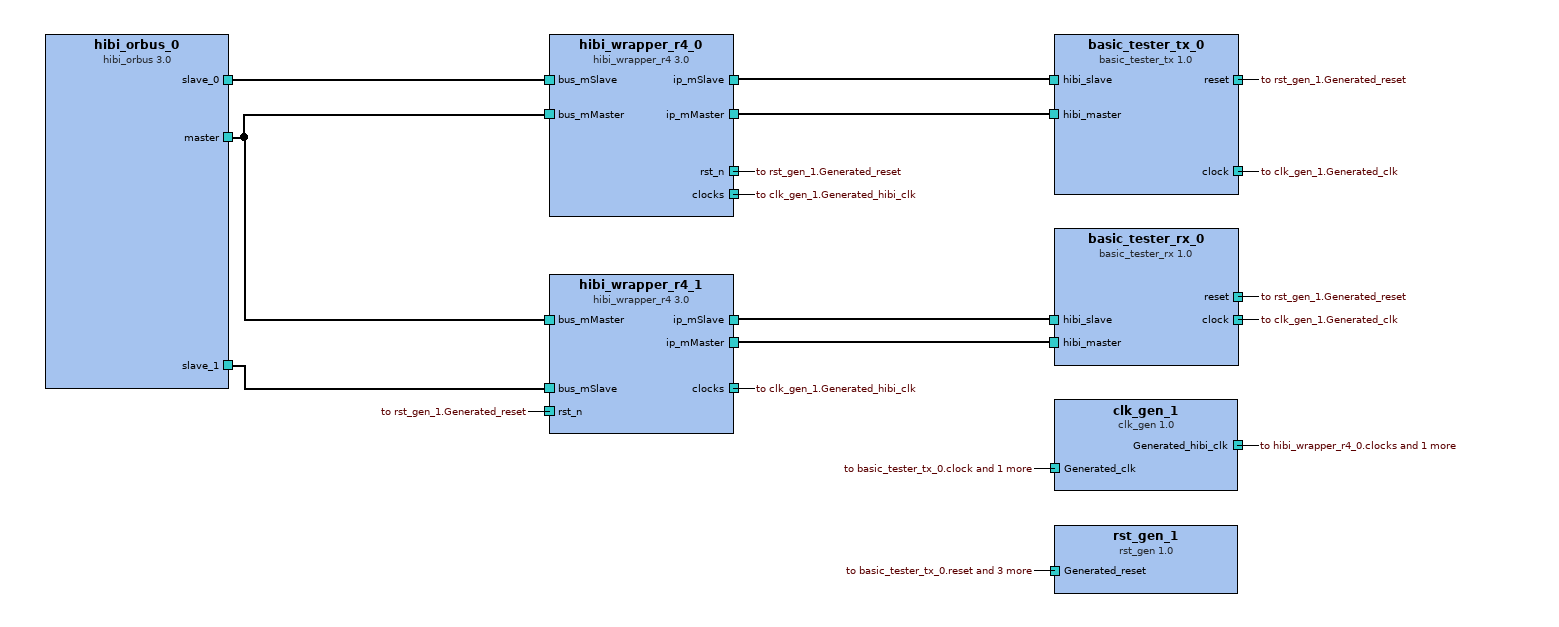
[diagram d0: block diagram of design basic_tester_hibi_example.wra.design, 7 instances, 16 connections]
<?xml version="1.0" encoding="UTF-8"?>
<!-- Created by Kactus2 - Open source IP-Xact toolset -->
<!-- http://sourceforge.net/projects/kactus2/ -->
<!-- Date: 04.07.2012 -->
<!-- Time: 14:04:47 -->
<spirit:design xmlns:kactus2="http://funbase.cs.tut.fi/" xmlns:spirit="http://www.spiritconsortium.org/XMLSchema/SPIRIT/1.5" xmlns:xsi="http://www.w3.org/2001/XMLSchema-instance" xsi:schemaLocation="http://www.spiritconsortium.org/XMLSchema/SPIRIT/1.5 http://www.spiritconsortium.org/XMLSchema/SPIRIT/1.5/index.xsd"><spirit:vendor>TUT</spirit:vendor><spirit:library>soc</spirit:library><spirit:name>basic_tester_hibi_example.wra.design</spirit:name>
 <spirit:version>1.0</spirit:version><spirit:componentInstances>
 <spirit:componentInstance><spirit:instanceName>basic_tester_tx_0</spirit:instanceName><spirit:componentRef spirit:vendor="TUT" spirit:library="ip.hwp.communication" spirit:name="basic_tester_tx" spirit:version="1.0"/><spirit:configurableElementValues><spirit:configurableElementValue spirit:referenceId="conf_file_g">"test_tx.txt"</spirit:configurableElementValue></spirit:configurableElementValues></spirit:componentInstance>
 <spirit:componentInstance><spirit:instanceName>clk_gen_1</spirit:instanceName>
  <spirit:componentRef spirit:vendor="TUT" spirit:library="ip.hwp.interface" spirit:name="clk_gen" spirit:version="1.0"/>
  <spirit:configurableElementValues><spirit:configurableElementValue spirit:referenceId="hi_period_ns_g">5</spirit:configurableElementValue><spirit:configurableElementValue spirit:referenceId="lo_period_ns_g">3</spirit:configurableElementValue></spirit:configurableElementValues>
 </spirit:componentInstance>
 <spirit:componentInstance><spirit:instanceName>basic_tester_rx_0</spirit:instanceName><spirit:componentRef spirit:vendor="TUT" spirit:library="ip.hwp.communication" spirit:name="basic_tester_rx" spirit:version="1.0"/><spirit:configurableElementValues><spirit:configurableElementValue spirit:referenceId="conf_file_g">"test_rx.txt"</spirit:configurableElementValue></spirit:configurableElementValues></spirit:componentInstance>
 <spirit:componentInstance><spirit:instanceName>rst_gen_1</spirit:instanceName><spirit:componentRef spirit:vendor="TUT" spirit:library="ip.hwp.interface" spirit:name="rst_gen" spirit:version="1.0"/></spirit:componentInstance>
 <spirit:componentInstance><spirit:instanceName>hibi_wrapper_r4_0</spirit:instanceName>
  <spirit:componentRef spirit:vendor="TUT" spirit:library="ip.hwp.communication" spirit:name="hibi_wrapper_r4" spirit:version="3.0"/>
  <spirit:configurableElementValues><spirit:configurableElementValue spirit:referenceId="addr_g">16#01000000#</spirit:configurableElementValue><spirit:configurableElementValue spirit:referenceId="addr_limit_g">16#03000000# -1</spirit:configurableElementValue></spirit:configurableElementValues>
 </spirit:componentInstance>
 <spirit:componentInstance><spirit:instanceName>hibi_wrapper_r4_1</spirit:instanceName>
  <spirit:componentRef spirit:vendor="TUT" spirit:library="ip.hwp.communication" spirit:name="hibi_wrapper_r4" spirit:version="3.0"/>
  <spirit:configurableElementValues><spirit:configurableElementValue spirit:referenceId="addr_g">16#03000000#</spirit:configurableElementValue><spirit:configurableElementValue spirit:referenceId="addr_limit_g">16#05000000#
-1</spirit:configurableElementValue></spirit:configurableElementValues>
 </spirit:componentInstance>
 <spirit:componentInstance><spirit:instanceName>hibi_orbus_0</spirit:instanceName><spirit:componentRef spirit:vendor="TUT" spirit:library="ip.hwp.communication" spirit:name="hibi_orbus" spirit:version="3.0"/></spirit:componentInstance>
</spirit:componentInstances><spirit:interconnections>
 <spirit:interconnection><spirit:name>rstn_gen_tx</spirit:name><spirit:activeInterface spirit:componentRef="rst_gen_1" spirit:busRef="Generated_reset"/><spirit:activeInterface spirit:componentRef="basic_tester_tx_0" spirit:busRef="reset"/></spirit:interconnection>
 <spirit:interconnection><spirit:name>rstn_gen_rx</spirit:name><spirit:activeInterface spirit:componentRef="rst_gen_1" spirit:busRef="Generated_reset"/><spirit:activeInterface spirit:componentRef="basic_tester_rx_0" spirit:busRef="reset"/></spirit:interconnection>
 <spirit:interconnection><spirit:name>clk_gen_tx</spirit:name><spirit:activeInterface spirit:componentRef="clk_gen_1" spirit:busRef="Generated_clk"/><spirit:activeInterface spirit:componentRef="basic_tester_tx_0" spirit:busRef="clock"/></spirit:interconnection>
 <spirit:interconnection><spirit:name>clk_gen_rx</spirit:name><spirit:activeInterface spirit:componentRef="clk_gen_1" spirit:busRef="Generated_clk"/><spirit:activeInterface spirit:componentRef="basic_tester_rx_0" spirit:busRef="clock"/></spirit:interconnection>
 <spirit:interconnection><spirit:name>hibi_orbus_0_slave_0_to_hibi_wrapper_r4_0_bus_mSlave</spirit:name><spirit:activeInterface spirit:componentRef="hibi_orbus_0" spirit:busRef="slave_0"/><spirit:activeInterface spirit:componentRef="hibi_wrapper_r4_0" spirit:busRef="bus_mSlave"/></spirit:interconnection>
 <spirit:interconnection><spirit:name>hibi_orbus_0_slave_1_to_hibi_wrapper_r4_1_bus_mSlave</spirit:name><spirit:activeInterface spirit:componentRef="hibi_orbus_0" spirit:busRef="slave_1"/><spirit:activeInterface spirit:componentRef="hibi_wrapper_r4_1" spirit:busRef="bus_mSlave"/></spirit:interconnection>
 <spirit:interconnection><spirit:name>hibi_orbus_0_master_to_hibi_wrapper_r4_1_bus_mMaster</spirit:name><spirit:activeInterface spirit:componentRef="hibi_orbus_0" spirit:busRef="master"/><spirit:activeInterface spirit:componentRef="hibi_wrapper_r4_1" spirit:busRef="bus_mMaster"/></spirit:interconnection>
 <spirit:interconnection><spirit:name>hibi_orbus_0_master_to_hibi_wrapper_r4_0_bus_mMaster</spirit:name><spirit:activeInterface spirit:componentRef="hibi_orbus_0" spirit:busRef="master"/><spirit:activeInterface spirit:componentRef="hibi_wrapper_r4_0" spirit:busRef="bus_mMaster"/></spirit:interconnection>
 <spirit:interconnection><spirit:name>basic_tester_tx_0_hibi_slave_to_hibi_wrapper_r4_0_ip_mSlave</spirit:name><spirit:activeInterface spirit:componentRef="basic_tester_tx_0" spirit:busRef="hibi_slave"/><spirit:activeInterface spirit:componentRef="hibi_wrapper_r4_0" spirit:busRef="ip_mSlave"/></spirit:interconnection>
 <spirit:interconnection><spirit:name>basic_tester_tx_0_hibi_master_to_hibi_wrapper_r4_0_ip_mMaster</spirit:name><spirit:activeInterface spirit:componentRef="basic_tester_tx_0" spirit:busRef="hibi_master"/><spirit:activeInterface spirit:componentRef="hibi_wrapper_r4_0" spirit:busRef="ip_mMaster"/></spirit:interconnection>
 <spirit:interconnection><spirit:name>basic_tester_rx_0_hibi_slave_to_hibi_wrapper_r4_1_ip_mSlave</spirit:name><spirit:activeInterface spirit:componentRef="basic_tester_rx_0" spirit:busRef="hibi_slave"/><spirit:activeInterface spirit:componentRef="hibi_wrapper_r4_1" spirit:busRef="ip_mSlave"/></spirit:interconnection>
 <spirit:interconnection><spirit:name>basic_tester_rx_0_hibi_master_to_hibi_wrapper_r4_1_ip_mMaster</spirit:name><spirit:activeInterface spirit:componentRef="basic_tester_rx_0" spirit:busRef="hibi_master"/><spirit:activeInterface spirit:componentRef="hibi_wrapper_r4_1" spirit:busRef="ip_mMaster"/></spirit:interconnection>
 <spirit:interconnection><spirit:name>clk_gen_1_Generated_hibi_clk_to_hibi_wrapper_r4_0_clocks</spirit:name><spirit:activeInterface spirit:componentRef="clk_gen_1" spirit:busRef="Generated_hibi_clk"/><spirit:activeInterface spirit:componentRef="hibi_wrapper_r4_0" spirit:busRef="clocks"/></spirit:interconnection>
 <spirit:interconnection><spirit:name>clk_gen_1_Generated_hibi_clk_to_hibi_wrapper_r4_1_clocks</spirit:name><spirit:activeInterface spirit:componentRef="clk_gen_1" spirit:busRef="Generated_hibi_clk"/><spirit:activeInterface spirit:componentRef="hibi_wrapper_r4_1" spirit:busRef="clocks"/></spirit:interconnection>
 <spirit:interconnection><spirit:name>hibi_wrapper_r4_0_rst_n_to_rst_gen_1_Generated_reset</spirit:name><spirit:activeInterface spirit:componentRef="hibi_wrapper_r4_0" spirit:busRef="rst_n"/><spirit:activeInterface spirit:componentRef="rst_gen_1" spirit:busRef="Generated_reset"/></spirit:interconnection>
 <spirit:interconnection><spirit:name>hibi_wrapper_r4_1_rst_n_to_rst_gen_1_Generated_reset</spirit:name><spirit:activeInterface spirit:componentRef="hibi_wrapper_r4_1" spirit:busRef="rst_n"/><spirit:activeInterface spirit:componentRef="rst_gen_1" spirit:busRef="Generated_reset"/></spirit:interconnection>
</spirit:interconnections></spirit:design>

